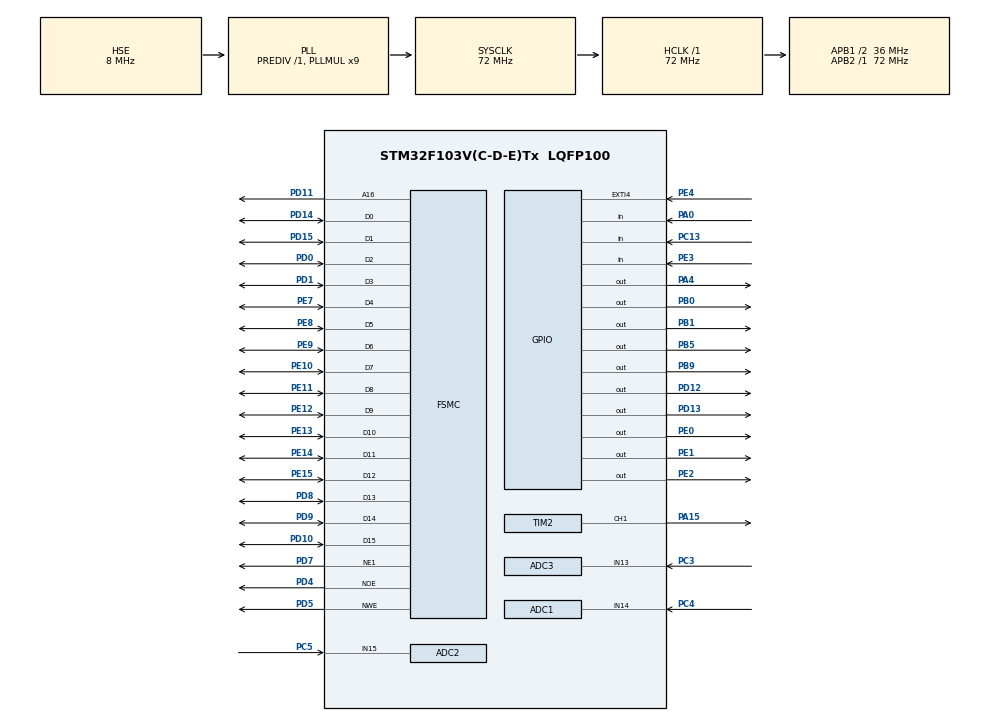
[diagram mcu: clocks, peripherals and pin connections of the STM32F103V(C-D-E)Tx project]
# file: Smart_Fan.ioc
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ADC1.Channel-0\#ChannelRegularConversion=ADC_CHANNEL_14
ADC1.ContinuousConvMode=ENABLE
ADC1.NbrOfConversionFlag=1
ADC1.Rank-0\#ChannelRegularConversion=1
ADC1.SamplingTime-0\#ChannelRegularConversion=ADC_SAMPLETIME_55CYCLES_5
ADC1.master=1
ADC2.Channel-0\#ChannelRegularConversion=ADC_CHANNEL_15
ADC2.ContinuousConvMode=ENABLE
ADC2.NbrOfConversionFlag=1
ADC2.Rank-0\#ChannelRegularConversion=1
ADC2.SamplingTime-0\#ChannelRegularConversion=ADC_SAMPLETIME_55CYCLES_5
ADC3.Channel-0\#ChannelRegularConversion=ADC_CHANNEL_13
ADC3.ContinuousConvMode=ENABLE
ADC3.NbrOfConversionFlag=1
ADC3.Rank-0\#ChannelRegularConversion=1
ADC3.SamplingTime-0\#ChannelRegularConversion=ADC_SAMPLETIME_55CYCLES_5
Mcu.Family=STM32F1
Mcu.Name=STM32F103V(C-D-E)Tx
Mcu.Package=LQFP100
NVIC.EXTI4_IRQn=true\:0\:0\:false\:false\:true\:true\:true
NVIC.PriorityGroup=NVIC_PRIORITYGROUP_4
OSC_IN.Mode=HSE-External-Oscillator
OSC_IN.Signal=RCC_OSC_IN
OSC_OUT.Mode=HSE-External-Oscillator
OSC_OUT.Signal=RCC_OSC_OUT
PA0-WKUP.GPIO_PuPd=GPIO_PULLDOWN
PA0-WKUP.Signal=GPIO_Input
PA13.Mode=Serial_Wire
PA13.Signal=SYS_JTMS-SWDIO
PA14.Mode=Serial_Wire
PA14.Signal=SYS_JTCK-SWCLK
PA15.Signal=S_TIM2_CH1_ETR
PA4.GPIO_Speed=GPIO_SPEED_FREQ_HIGH
PA4.Signal=GPIO_Output
PB0.GPIO_Speed=GPIO_SPEED_FREQ_HIGH
PB0.PinState=GPIO_PIN_SET
PB0.Signal=GPIO_Output
PB1.GPIO_Speed=GPIO_SPEED_FREQ_HIGH
PB1.PinState=GPIO_PIN_SET
PB1.Signal=GPIO_Output
PB5.GPIO_Speed=GPIO_SPEED_FREQ_HIGH
PB5.PinState=GPIO_PIN_SET
PB5.Signal=GPIO_Output
PB9.GPIO_Speed=GPIO_SPEED_FREQ_HIGH
PB9.PinState=GPIO_PIN_SET
PB9.Signal=GPIO_Output
PC13-TAMPER-RTC.GPIO_PuPd=GPIO_PULLDOWN
PC13-TAMPER-RTC.Signal=GPIO_Input
PC14-OSC32_IN.Mode=LSE-External-Oscillator
PC14-OSC32_IN.Signal=RCC_OSC32_IN
PC15-OSC32_OUT.Mode=LSE-External-Oscillator
PC15-OSC32_OUT.Signal=RCC_OSC32_OUT
PC3.Signal=ADCx_IN13
PC4.Signal=ADCx_IN14
PC5.Signal=ADCx_IN15
PD0.Mode=16b-d1
PD0.Signal=FSMC_D2
PD1.Mode=16b-d1
PD1.Signal=FSMC_D3
PD10.Mode=16b-d1
PD10.Signal=FSMC_D15
PD11.Mode=A16_1
PD11.Signal=FSMC_A16
PD12.GPIO_Speed=GPIO_SPEED_FREQ_HIGH
PD12.Signal=GPIO_Output
PD13.GPIO_Speed=GPIO_SPEED_FREQ_HIGH
PD13.Signal=GPIO_Output
PD14.Mode=16b-d1
PD14.Signal=FSMC_D0
PD15.Mode=16b-d1
PD15.Signal=FSMC_D1
PD4.Mode=Lcd1
PD4.Signal=FSMC_NOE
PD5.Mode=Lcd1
PD5.Signal=FSMC_NWE
PD7.Mode=NorPsramChipSelect1_1
PD7.Signal=FSMC_NE1
PD8.Mode=16b-d1
PD8.Signal=FSMC_D13
PD9.Mode=16b-d1
PD9.Signal=FSMC_D14
PE0.GPIO_Speed=GPIO_SPEED_FREQ_HIGH
PE0.Signal=GPIO_Output
PE1.GPIO_Speed=GPIO_SPEED_FREQ_HIGH
PE1.Signal=GPIO_Output
PE10.Mode=16b-d1
PE10.Signal=FSMC_D7
PE11.Mode=16b-d1
PE11.Signal=FSMC_D8
PE12.Mode=16b-d1
PE12.Signal=FSMC_D9
PE13.Mode=16b-d1
PE13.Signal=FSMC_D10
PE14.Mode=16b-d1
PE14.Signal=FSMC_D11
PE15.Mode=16b-d1
PE15.Signal=FSMC_D12
PE2.GPIO_Speed=GPIO_SPEED_FREQ_HIGH
PE2.Signal=GPIO_Output
PE3.GPIO_PuPd=GPIO_PULLUP
PE3.Signal=GPIO_Input
PE4.GPIO_PuPd=GPIO_PULLUP
PE4.Signal=GPXTI4
PE7.Mode=16b-d1
PE7.Signal=FSMC_D4
PE8.Mode=16b-d1
PE8.Signal=FSMC_D5
PE9.Mode=16b-d1
PE9.Signal=FSMC_D6
ProjectManager.HeapSize=0x200
ProjectManager.StackSize=0x400
ProjectManager.TargetToolchain=MDK-ARM V5.27
RCC.ADCPresc=RCC_ADCPCLK2_DIV6
RCC.AHBFreq_Value=72000000
RCC.APB1CLKDivider=RCC_HCLK_DIV2
RCC.APB1Freq_Value=36000000
RCC.APB1TimFreq_Value=72000000
RCC.APB2Freq_Value=72000000
RCC.APB2TimFreq_Value=72000000
RCC.HCLKFreq_Value=72000000
RCC.PLLMUL=RCC_PLL_MUL9
RCC.PLLSourceVirtual=RCC_PLLSOURCE_HSE
RCC.SYSCLKFreq_VALUE=72000000
RCC.SYSCLKSource=RCC_SYSCLKSOURCE_PLLCLK
RCC.USBFreq_Value=72000000
SH.ADCx_IN13.0=ADC3_IN13,IN13
SH.ADCx_IN14.0=ADC1_IN14,IN14
SH.ADCx_IN15.0=ADC2_IN15,IN15
SH.S_TIM2_CH1_ETR.0=TIM2_CH1,PWM Generation1 CH1
TIM2.Channel-PWM\ Generation1\ CH1=TIM_CHANNEL_1
TIM2.Period=1200-1
TIM2.Prescaler=1000
TIM2.Pulse-PWM\ Generation1\ CH1=0
VP_TIM2_VS_ClockSourceINT.Mode=Internal
board=custom

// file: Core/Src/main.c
/* USER CODE BEGIN Header */
/**
  ******************************************************************************
  * @file           : main.c
  * @brief          : Main program body
  ******************************************************************************
  * @attention
  *
  * <h2><center>&copy; Copyright (c) 2021 STMicroelectronics.
  * All rights reserved.</center></h2>
  *
  * This software component is licensed by ST under BSD 3-Clause license,
  * the "License"; You may not use this file except in compliance with the
  * License. You may obtain a copy of the License at:
  *                        opensource.org/licenses/BSD-3-Clause
  *
  ******************************************************************************
  */
/* USER CODE END Header */
#include "main.h"

/* USER CODE BEGIN Includes */
#include "lcdtp.h"
#include "xpt2046.h"
#include "helper_func.h"
/* USER CODE END Includes */

ADC_HandleTypeDef hadc1;
ADC_HandleTypeDef hadc2;
ADC_HandleTypeDef hadc3;

TIM_HandleTypeDef htim2;

SRAM_HandleTypeDef hsram1;

void SystemClock_Config(void);
static void MX_GPIO_Init(void);
static void MX_FSMC_Init(void);
static void MX_ADC1_Init(void);
static void MX_ADC2_Init(void);
static void MX_ADC3_Init(void);
static void MX_TIM2_Init(void);

/* USER CODE BEGIN 0 */
void PWM_set_value(uint16_t value) {
	TIM_OC_InitTypeDef sConfigOC;
	sConfigOC.OCMode = TIM_OCMODE_PWM1;
	sConfigOC.Pulse = value;
	sConfigOC.OCPolarity = TIM_OCPOLARITY_HIGH;
	sConfigOC.OCFastMode = TIM_OCFAST_DISABLE;
	HAL_TIM_PWM_ConfigChannel(&htim2, &sConfigOC, TIM_CHANNEL_1);
	HAL_TIM_PWM_Start(&htim2, TIM_CHANNEL_1);
}

struct Fan_Para_t fanPara;
/* USER CODE END 0 */

int main(void)
{

  /* MCU Configuration--------------------------------------------------------*/

  /* Reset of all peripherals, Initializes the Flash interface and the Systick. */
  HAL_Init();

  /* Configure the system clock */
  SystemClock_Config();

  /* Initialize all configured peripherals */
  MX_GPIO_Init();
  MX_FSMC_Init();
  MX_ADC1_Init();
  MX_ADC2_Init();
  MX_ADC3_Init();
  MX_TIM2_Init();
  /* USER CODE BEGIN 2 */
	macXPT2046_CS_DISABLE();
	LCD_INIT();
	HAL_TIM_PWM_Start(&htim2, TIM_CHANNEL_1);
	PWM_set_value(0);
	while(!XPT2046_Touch_Calibrate());
	LCD_GramScan(1);
	LCD_Clear(0, 0, 240, 320, WHITE);
	LCD_DrawString_Color(85, 290, "Smart Fan", BLACK, WHITE);

	HAL_ADCEx_Calibration_Start(&hadc1);
	HAL_ADCEx_Calibration_Start(&hadc2);
	HAL_ADCEx_Calibration_Start(&hadc3);
	HAL_ADC_Start(&hadc1);
	HAL_ADC_Start(&hadc2);
	HAL_ADC_Start(&hadc3);

	screen_draw_ui_section(&fanPara, LABELS);
	screen_draw_ui_section(&fanPara, OP_MODE);
	screen_draw_ui_section(&fanPara, SILENT_MODE);
	screen_draw_ui_section(&fanPara, COUNTER);
	screen_draw_ui_section(&fanPara, COUNTER_CONTROL);

	fanPara.air_tempt = 0.0;
	fanPara.fan_speed_pctg = 0.0; // 0 to 100
	fanPara.fan_speed_input_m = 0; // adc
	fanPara.op_mode = 0; // off, auto, manual
	fanPara.silent_enabled = 0; // off, on
	fanPara.ctime_hms[0] = 0;
	fanPara.ctime_hms[1] = 0;
	fanPara.ctime_hms[2] = 0;
	fanPara.ctime_selected[0] = 0;
	fanPara.ctime_selected[1] = 0;
	fanPara.ctime_selected[2] = 0;
	fanPara.ctime_status = 0;
	fanPara.sound_intensity = 0;
	fanPara.touch_X = 0;
	fanPara.touch_Y = 0;
	fanPara.sys_starttime = HAL_GetTick();
	fanPara.screen_nextrefresh = fanPara.sys_starttime;
	fanPara.counter_nexttick = fanPara.sys_starttime;
	fanPara.button_nextcheck = fanPara.sys_starttime;
	fanPara.screen_nexttouch = fanPara.sys_starttime;
	fanPara.tempt_nextread = fanPara.sys_starttime;
	fanPara.sound_nextread = fanPara.sys_starttime;
	strType_XPT2046_Coordinate touch_XY;

	fan_turnoff(&fanPara);
  /* USER CODE END 2 */

  /* Infinite loop */
  while (1)
  {

    /* USER CODE BEGIN 3 */
		fanPara.currentTime = HAL_GetTick();

		// set air_tempt
		if (HAL_GetTick() >= fanPara.tempt_nextread) {
			HAL_ADC_PollForConversion(&hadc3, 1000);
			fanPara.air_tempt = (float)HAL_ADC_GetValue(&hadc3);
			fanPara.air_tempt = fanPara.air_tempt / 10.0;
			fanPara.air_tempt = fanPara.air_tempt - 5;

			fanPara.tempt_nextread += 1000;
		}

		// set sound intensity

		if (HAL_GetTick() >= fanPara.sound_nextread) {
			uint32_t ADC2_result = 0;
			HAL_ADC_PollForConversion(&hadc2, 1000);
			ADC2_result = HAL_ADC_GetValue(&hadc2);
			if (ADC2_result != 0)
				fanPara.sound_intensity = ADC2_result;

			fanPara.sound_nextread += 1000;
		}

		// set manual input
		HAL_ADC_PollForConversion(&hadc1, 1000);
		fanPara.fan_speed_input_m = HAL_ADC_GetValue(&hadc1);

		// set fan_speed_pctg
		fanPara.fan_speed_pctg = fan_update_pctg(&fanPara);

		// set RGB indicator
		RGB_set(&fanPara);

		// set motor
		motor_set(fanPara.fan_speed_pctg);

		// touch handling
		fanPara.touch_X = 0;
		fanPara.touch_Y = 0;
		if (fanPara.currentTime >= fanPara.screen_nexttouch) {
			XPT2046_Get_TouchedPoint (&touch_XY, &strXPT2046_TouchPara);
			fanPara.touch_X = touch_XY.x;
			fanPara.touch_Y = touch_XY.y;
			fanPara.screen_nexttouch += 100;
		}
		if (ucXPT2046_TouchFlag == 1) {
			// op mode
			fan_switch_op_mode(&fanPara);
			screen_clear_section(OP_MODE);
			screen_draw_ui_section(&fanPara, OP_MODE);

			// silent enable
			fan_switch_silent_mode(&fanPara);
			screen_clear_section(SILENT_MODE);
			screen_draw_ui_section(&fanPara, SILENT_MODE);

			fanPara.touch_X = 0;
			fanPara.touch_Y = 0;
			ucXPT2046_TouchFlag = 0;
		}

		fanPara.currentTime = HAL_GetTick();
		if (fanPara.currentTime >= fanPara.button_nextcheck) {
			if (fanPara.op_mode != 0) {
				if (HAL_GPIO_ReadPin(GPIOA, GPIO_PIN_0) == GPIO_PIN_SET) { // K1 switch op mode
				if (fanPara.ctime_status == 0) {
					ctime_toggleSelected(&fanPara);
					screen_clear_section(COUNTER_SELECTOR);
					screen_draw_ui_section(&fanPara, COUNTER_SELECTOR);
					}
				}
				else if (HAL_GPIO_ReadPin(GPIOC, GPIO_PIN_13) == GPIO_PIN_SET) { // K2 switch silent mode/start/cancel
					int ctime_current_selected = ctime_getSelected(&fanPara);
					if (ctime_current_selected == -1) {
						ctime_start_cancel(&fanPara);
						screen_clear_section(COUNTER_CONTROL);
						screen_draw_ui_section(&fanPara, COUNTER_CONTROL);
					} else {
						ctime_increSelected(&fanPara);
					}
				}
				fanPara.button_nextcheck += 300;
			}
		}

		if (fanPara.ctime_status == 1 && HAL_GetTick() > fanPara.counter_nexttick) { // if counter started, tick every sec
			ctime_tick(&fanPara);
			if (fanPara.ctime_status == 0) { // time up
				fan_turnoff(&fanPara);
				screen_clear_section(OP_MODE);
				screen_draw_ui_section(&fanPara, OP_MODE);
				screen_clear_section(SILENT_MODE);
				screen_draw_ui_section(&fanPara, SILENT_MODE);
				screen_clear_section(COUNTER_CONTROL);
				screen_draw_ui_section(&fanPara, COUNTER_CONTROL);
			}
			fanPara.counter_nexttick += 1000;
		}

		if (HAL_GetTick() > fanPara.screen_nextrefresh) { // refresh selected
			screen_info_refresh(&fanPara);
			fanPara.screen_nextrefresh += 500;
		}

  }
  /* USER CODE END 3 */
}

void SystemClock_Config(void)
{
  RCC_OscInitTypeDef RCC_OscInitStruct = {0};
  RCC_ClkInitTypeDef RCC_ClkInitStruct = {0};
  RCC_PeriphCLKInitTypeDef PeriphClkInit = {0};

  /** Initializes the RCC Oscillators according to the specified parameters
  * in the RCC_OscInitTypeDef structure.
  */
  RCC_OscInitStruct.OscillatorType = RCC_OSCILLATORTYPE_HSE;
  RCC_OscInitStruct.HSEState = RCC_HSE_ON;
  RCC_OscInitStruct.HSEPredivValue = RCC_HSE_PREDIV_DIV1;
  RCC_OscInitStruct.HSIState = RCC_HSI_ON;
  RCC_OscInitStruct.PLL.PLLState = RCC_PLL_ON;
  RCC_OscInitStruct.PLL.PLLSource = RCC_PLLSOURCE_HSE;
  RCC_OscInitStruct.PLL.PLLMUL = RCC_PLL_MUL9;
  if (HAL_RCC_OscConfig(&RCC_OscInitStruct) != HAL_OK)
  {
    Error_Handler();
  }
  /** Initializes the CPU, AHB and APB buses clocks
  */
  RCC_ClkInitStruct.ClockType = RCC_CLOCKTYPE_HCLK|RCC_CLOCKTYPE_SYSCLK
                              |RCC_CLOCKTYPE_PCLK1|RCC_CLOCKTYPE_PCLK2;
  RCC_ClkInitStruct.SYSCLKSource = RCC_SYSCLKSOURCE_PLLCLK;
  RCC_ClkInitStruct.AHBCLKDivider = RCC_SYSCLK_DIV1;
  RCC_ClkInitStruct.APB1CLKDivider = RCC_HCLK_DIV2;
  RCC_ClkInitStruct.APB2CLKDivider = RCC_HCLK_DIV1;

  if (HAL_RCC_ClockConfig(&RCC_ClkInitStruct, FLASH_LATENCY_2) != HAL_OK)
  {
    Error_Handler();
  }
  PeriphClkInit.PeriphClockSelection = RCC_PERIPHCLK_ADC;
  PeriphClkInit.AdcClockSelection = RCC_ADCPCLK2_DIV6;
  if (HAL_RCCEx_PeriphCLKConfig(&PeriphClkInit) != HAL_OK)
  {
    Error_Handler();
  }
}

static void MX_ADC1_Init(void)
{

  ADC_ChannelConfTypeDef sConfig = {0};

  /** Common config
  */
  hadc1.Instance = ADC1;
  hadc1.Init.ScanConvMode = ADC_SCAN_DISABLE;
  hadc1.Init.ContinuousConvMode = ENABLE;
  hadc1.Init.DiscontinuousConvMode = DISABLE;
  hadc1.Init.ExternalTrigConv = ADC_SOFTWARE_START;
  hadc1.Init.DataAlign = ADC_DATAALIGN_RIGHT;
  hadc1.Init.NbrOfConversion = 1;
  if (HAL_ADC_Init(&hadc1) != HAL_OK)
  {
    Error_Handler();
  }
  /** Configure Regular Channel
  */
  sConfig.Channel = ADC_CHANNEL_14;
  sConfig.Rank = ADC_REGULAR_RANK_1;
  sConfig.SamplingTime = ADC_SAMPLETIME_55CYCLES_5;
  if (HAL_ADC_ConfigChannel(&hadc1, &sConfig) != HAL_OK)
  {
    Error_Handler();
  }

}

static void MX_ADC2_Init(void)
{

  ADC_ChannelConfTypeDef sConfig = {0};

  /** Common config
  */
  hadc2.Instance = ADC2;
  hadc2.Init.ScanConvMode = ADC_SCAN_DISABLE;
  hadc2.Init.ContinuousConvMode = ENABLE;
  hadc2.Init.DiscontinuousConvMode = DISABLE;
  hadc2.Init.ExternalTrigConv = ADC_SOFTWARE_START;
  hadc2.Init.DataAlign = ADC_DATAALIGN_RIGHT;
  hadc2.Init.NbrOfConversion = 1;
  if (HAL_ADC_Init(&hadc2) != HAL_OK)
  {
    Error_Handler();
  }
  /** Configure Regular Channel
  */
  sConfig.Channel = ADC_CHANNEL_15;
  sConfig.Rank = ADC_REGULAR_RANK_1;
  sConfig.SamplingTime = ADC_SAMPLETIME_55CYCLES_5;
  if (HAL_ADC_ConfigChannel(&hadc2, &sConfig) != HAL_OK)
  {
    Error_Handler();
  }

}

static void MX_ADC3_Init(void)
{

  ADC_ChannelConfTypeDef sConfig = {0};

  /** Common config
  */
  hadc3.Instance = ADC3;
  hadc3.Init.ScanConvMode = ADC_SCAN_DISABLE;
  hadc3.Init.ContinuousConvMode = ENABLE;
  hadc3.Init.DiscontinuousConvMode = DISABLE;
  hadc3.Init.ExternalTrigConv = ADC_SOFTWARE_START;
  hadc3.Init.DataAlign = ADC_DATAALIGN_RIGHT;
  hadc3.Init.NbrOfConversion = 1;
  if (HAL_ADC_Init(&hadc3) != HAL_OK)
  {
    Error_Handler();
  }
  /** Configure Regular Channel
  */
  sConfig.Channel = ADC_CHANNEL_13;
  sConfig.Rank = ADC_REGULAR_RANK_1;
  sConfig.SamplingTime = ADC_SAMPLETIME_55CYCLES_5;
  if (HAL_ADC_ConfigChannel(&hadc3, &sConfig) != HAL_OK)
  {
    Error_Handler();
  }

}

static void MX_TIM2_Init(void)
{

  TIM_ClockConfigTypeDef sClockSourceConfig = {0};
  TIM_MasterConfigTypeDef sMasterConfig = {0};
  TIM_OC_InitTypeDef sConfigOC = {0};

  htim2.Instance = TIM2;
  htim2.Init.Prescaler = 1000;
  htim2.Init.CounterMode = TIM_COUNTERMODE_UP;
  htim2.Init.Period = 1200-1;
  htim2.Init.ClockDivision = TIM_CLOCKDIVISION_DIV1;
  htim2.Init.AutoReloadPreload = TIM_AUTORELOAD_PRELOAD_DISABLE;
  if (HAL_TIM_Base_Init(&htim2) != HAL_OK)
  {
    Error_Handler();
  }
  sClockSourceConfig.ClockSource = TIM_CLOCKSOURCE_INTERNAL;
  if (HAL_TIM_ConfigClockSource(&htim2, &sClockSourceConfig) != HAL_OK)
  {
    Error_Handler();
  }
  if (HAL_TIM_PWM_Init(&htim2) != HAL_OK)
  {
    Error_Handler();
  }
  sMasterConfig.MasterOutputTrigger = TIM_TRGO_RESET;
  sMasterConfig.MasterSlaveMode = TIM_MASTERSLAVEMODE_DISABLE;
  if (HAL_TIMEx_MasterConfigSynchronization(&htim2, &sMasterConfig) != HAL_OK)
  {
    Error_Handler();
  }
  sConfigOC.OCMode = TIM_OCMODE_PWM1;
  sConfigOC.Pulse = 0;
  sConfigOC.OCPolarity = TIM_OCPOLARITY_HIGH;
  sConfigOC.OCFastMode = TIM_OCFAST_DISABLE;
  if (HAL_TIM_PWM_ConfigChannel(&htim2, &sConfigOC, TIM_CHANNEL_1) != HAL_OK)
  {
    Error_Handler();
  }
  HAL_TIM_MspPostInit(&htim2);

}

static void MX_GPIO_Init(void)
{
  GPIO_InitTypeDef GPIO_InitStruct = {0};

  /* GPIO Ports Clock Enable */
  __HAL_RCC_GPIOE_CLK_ENABLE();
  __HAL_RCC_GPIOC_CLK_ENABLE();
  __HAL_RCC_GPIOA_CLK_ENABLE();
  __HAL_RCC_GPIOB_CLK_ENABLE();
  __HAL_RCC_GPIOD_CLK_ENABLE();

  /*Configure GPIO pin Output Level */
  HAL_GPIO_WritePin(GPIOE, GPIO_PIN_2|GPIO_PIN_0|GPIO_PIN_1, GPIO_PIN_RESET);

  /*Configure GPIO pin Output Level */
  HAL_GPIO_WritePin(GPIOA, GPIO_PIN_4, GPIO_PIN_RESET);

  /*Configure GPIO pin Output Level */
  HAL_GPIO_WritePin(GPIOB, GPIO_PIN_0|GPIO_PIN_1|GPIO_PIN_5|GPIO_PIN_9, GPIO_PIN_SET);

  /*Configure GPIO pin Output Level */
  HAL_GPIO_WritePin(GPIOD, GPIO_PIN_12|GPIO_PIN_13, GPIO_PIN_RESET);

  /*Configure GPIO pins : PE2 PE0 PE1 */
  GPIO_InitStruct.Pin = GPIO_PIN_2|GPIO_PIN_0|GPIO_PIN_1;
  GPIO_InitStruct.Mode = GPIO_MODE_OUTPUT_PP;
  GPIO_InitStruct.Pull = GPIO_NOPULL;
  GPIO_InitStruct.Speed = GPIO_SPEED_FREQ_HIGH;
  HAL_GPIO_Init(GPIOE, &GPIO_InitStruct);

  /*Configure GPIO pin : PE3 */
  GPIO_InitStruct.Pin = GPIO_PIN_3;
  GPIO_InitStruct.Mode = GPIO_MODE_INPUT;
  GPIO_InitStruct.Pull = GPIO_PULLUP;
  HAL_GPIO_Init(GPIOE, &GPIO_InitStruct);

  /*Configure GPIO pin : PE4 */
  GPIO_InitStruct.Pin = GPIO_PIN_4;
  GPIO_InitStruct.Mode = GPIO_MODE_IT_RISING;
  GPIO_InitStruct.Pull = GPIO_PULLUP;
  HAL_GPIO_Init(GPIOE, &GPIO_InitStruct);

  /*Configure GPIO pin : PC13 */
  GPIO_InitStruct.Pin = GPIO_PIN_13;
  GPIO_InitStruct.Mode = GPIO_MODE_INPUT;
  GPIO_InitStruct.Pull = GPIO_PULLDOWN;
  HAL_GPIO_Init(GPIOC, &GPIO_InitStruct);

  /*Configure GPIO pin : PA0 */
  GPIO_InitStruct.Pin = GPIO_PIN_0;
  GPIO_InitStruct.Mode = GPIO_MODE_INPUT;
  GPIO_InitStruct.Pull = GPIO_PULLDOWN;
  HAL_GPIO_Init(GPIOA, &GPIO_InitStruct);

  /*Configure GPIO pin : PA4 */
  GPIO_InitStruct.Pin = GPIO_PIN_4;
  GPIO_InitStruct.Mode = GPIO_MODE_OUTPUT_PP;
  GPIO_InitStruct.Pull = GPIO_NOPULL;
  GPIO_InitStruct.Speed = GPIO_SPEED_FREQ_HIGH;
  HAL_GPIO_Init(GPIOA, &GPIO_InitStruct);

  /*Configure GPIO pins : PB0 PB1 PB5 PB9 */
  GPIO_InitStruct.Pin = GPIO_PIN_0|GPIO_PIN_1|GPIO_PIN_5|GPIO_PIN_9;
  GPIO_InitStruct.Mode = GPIO_MODE_OUTPUT_PP;
  GPIO_InitStruct.Pull = GPIO_NOPULL;
  GPIO_InitStruct.Speed = GPIO_SPEED_FREQ_HIGH;
  HAL_GPIO_Init(GPIOB, &GPIO_InitStruct);

  /*Configure GPIO pins : PD12 PD13 */
  GPIO_InitStruct.Pin = GPIO_PIN_12|GPIO_PIN_13;
  GPIO_InitStruct.Mode = GPIO_MODE_OUTPUT_PP;
  GPIO_InitStruct.Pull = GPIO_NOPULL;
  GPIO_InitStruct.Speed = GPIO_SPEED_FREQ_HIGH;
  HAL_GPIO_Init(GPIOD, &GPIO_InitStruct);

  /* EXTI interrupt init*/
  HAL_NVIC_SetPriority(EXTI4_IRQn, 0, 0);
  HAL_NVIC_EnableIRQ(EXTI4_IRQn);

}

/* FSMC initialization function */
static void MX_FSMC_Init(void)
{

  FSMC_NORSRAM_TimingTypeDef Timing = {0};

  /** Perform the SRAM1 memory initialization sequence
  */
  hsram1.Instance = FSMC_NORSRAM_DEVICE;
  hsram1.Extended = FSMC_NORSRAM_EXTENDED_DEVICE;
  /* hsram1.Init */
  hsram1.Init.NSBank = FSMC_NORSRAM_BANK1;
  hsram1.Init.DataAddressMux = FSMC_DATA_ADDRESS_MUX_DISABLE;
  hsram1.Init.MemoryType = FSMC_MEMORY_TYPE_SRAM;
  hsram1.Init.MemoryDataWidth = FSMC_NORSRAM_MEM_BUS_WIDTH_16;
  hsram1.Init.BurstAccessMode = FSMC_BURST_ACCESS_MODE_DISABLE;
  hsram1.Init.WaitSignalPolarity = FSMC_WAIT_SIGNAL_POLARITY_LOW;
  hsram1.Init.WrapMode = FSMC_WRAP_MODE_DISABLE;
  hsram1.Init.WaitSignalActive = FSMC_WAIT_TIMING_BEFORE_WS;
  hsram1.Init.WriteOperation = FSMC_WRITE_OPERATION_ENABLE;
  hsram1.Init.WaitSignal = FSMC_WAIT_SIGNAL_DISABLE;
  hsram1.Init.ExtendedMode = FSMC_EXTENDED_MODE_DISABLE;
  hsram1.Init.AsynchronousWait = FSMC_ASYNCHRONOUS_WAIT_DISABLE;
  hsram1.Init.WriteBurst = FSMC_WRITE_BURST_DISABLE;
  /* Timing */
  Timing.AddressSetupTime = 15;
  Timing.AddressHoldTime = 15;
  Timing.DataSetupTime = 255;
  Timing.BusTurnAroundDuration = 15;
  Timing.CLKDivision = 16;
  Timing.DataLatency = 17;
  Timing.AccessMode = FSMC_ACCESS_MODE_A;
  /* ExtTiming */

  if (HAL_SRAM_Init(&hsram1, &Timing, NULL) != HAL_OK)
  {
    Error_Handler( );
  }

  /** Disconnect NADV
  */

  __HAL_AFIO_FSMCNADV_DISCONNECTED();

}

void Error_Handler(void)
{
  __disable_irq();
  while (1)
  {
  }
}

/************************ (C) COPYRIGHT STMicroelectronics *****END OF FILE****/
